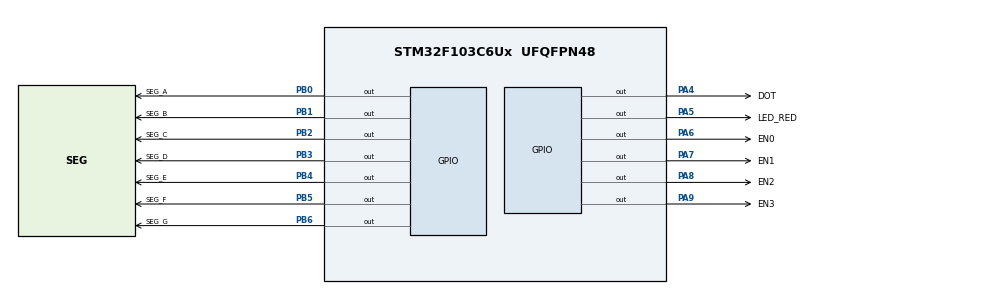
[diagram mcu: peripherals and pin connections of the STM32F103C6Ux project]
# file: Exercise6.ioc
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Mcu.Family=STM32F1
Mcu.Name=STM32F103C6Ux
Mcu.Package=UFQFPN48
NVIC.PriorityGroup=NVIC_PRIORITYGROUP_4
NVIC.TIM2_IRQn=true\:0\:0\:false\:false\:true\:true\:true
PA4.GPIO_Label=DOT
PA4.PinState=GPIO_PIN_SET
PA4.Signal=GPIO_Output
PA5.GPIO_Label=LED_RED
PA5.PinState=GPIO_PIN_SET
PA5.Signal=GPIO_Output
PA6.GPIO_Label=EN0
PA6.PinState=GPIO_PIN_SET
PA6.Signal=GPIO_Output
PA7.GPIO_Label=EN1
PA7.PinState=GPIO_PIN_SET
PA7.Signal=GPIO_Output
PA8.GPIO_Label=EN2
PA8.PinState=GPIO_PIN_SET
PA8.Signal=GPIO_Output
PA9.GPIO_Label=EN3
PA9.PinState=GPIO_PIN_SET
PA9.Signal=GPIO_Output
PB0.GPIO_Label=SEG_A
PB0.PinState=GPIO_PIN_SET
PB0.Signal=GPIO_Output
PB1.GPIO_Label=SEG_B
PB1.PinState=GPIO_PIN_SET
PB1.Signal=GPIO_Output
PB2.GPIO_Label=SEG_C
PB2.PinState=GPIO_PIN_SET
PB2.Signal=GPIO_Output
PB3.GPIO_Label=SEG_D
PB3.PinState=GPIO_PIN_SET
PB3.Signal=GPIO_Output
PB4.GPIO_Label=SEG_E
PB4.PinState=GPIO_PIN_SET
PB4.Signal=GPIO_Output
PB5.GPIO_Label=SEG_F
PB5.PinState=GPIO_PIN_SET
PB5.Signal=GPIO_Output
PB6.GPIO_Label=SEG_G
PB6.PinState=GPIO_PIN_SET
PB6.Signal=GPIO_Output
ProjectManager.HeapSize=0x200
ProjectManager.StackSize=0x400
ProjectManager.TargetToolchain=STM32CubeIDE
RCC.APB1Freq_Value=8000000
RCC.APB2Freq_Value=8000000
TIM2.Period=9
TIM2.Prescaler=7999
VP_SYS_VS_ND.Mode=No_Debug
VP_TIM2_VS_ClockSourceINT.Mode=Internal
board=custom

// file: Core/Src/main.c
/* USER CODE BEGIN Header */
/**
  ******************************************************************************
  * @file           : main.c
  * @brief          : Main program body
  ******************************************************************************
  * @attention
  *
  * <h2><center>&copy; Copyright (c) 2026 STMicroelectronics.
  * All rights reserved.</center></h2>
  *
  * This software component is licensed by ST under BSD 3-Clause license,
  * the "License"; You may not use this file except in compliance with the
  * License. You may obtain a copy of the License at:
  *                        opensource.org/licenses/BSD-3-Clause
  *
  ******************************************************************************
  */
/* USER CODE END Header */
#include "main.h"

TIM_HandleTypeDef htim2;

void SystemClock_Config(void);
static void MX_GPIO_Init(void);
static void MX_TIM2_Init(void);

/* USER CODE BEGIN 0 */

/* ====================== SOFTWARE TIMER (Exercise 6) ====================== */
int timer0_counter = 0;
int timer0_flag = 0;
int TIMER_CYCLE = 10;               // timer interrupt period = 10 ms

void setTimer0(int duration)
{
  timer0_counter = duration / TIMER_CYCLE;
  timer0_flag = 0;
}

void timer_run(void)
{
  if (timer0_counter > 0)
  {
    timer0_counter--;
    if (timer0_counter == 0) timer0_flag = 1;
  }
}

/* ====================== 7-SEGMENT DISPLAY (Exercise 1 - 4) ====================== */
const int MAX_LED = 4;
int index_led = 0;
int led_buffer[4] = {1, 2, 3, 4};

/* Scanning period: SCAN_TICKS x 10 ms per LED.
   25 ticks = 250 ms per LED -> whole 4 LEDs scanned at 1 Hz (Exercise 4).
   Change to 5 (50 ms/LED) or 1 (10 ms/LED) for a smoother display on real hardware. */
#define SCAN_TICKS 25
int scan_counter = 1;               // = 1 so the first LED is shown immediately

/* Segment pins (common anode: logic 0 = segment ON) */
static const uint16_t seg_pin[7] = {
  SEG_A_Pin, SEG_B_Pin, SEG_C_Pin, SEG_D_Pin,
  SEG_E_Pin, SEG_F_Pin, SEG_G_Pin
};

/* Pattern for digits 0..9, bit0 = a ... bit6 = g (0 = ON) */
static const uint8_t seg_code[10] = {
  0x40, // 0
  0x79, // 1
  0x24, // 2
  0x30, // 3
  0x19, // 4
  0x12, // 5
  0x02, // 6
  0x78, // 7
  0x00, // 8
  0x10  // 9
};

/* Enable pins (PNP transistor: logic 0 = LED ON) */
static const uint16_t en_pin[4] = {EN0_Pin, EN1_Pin, EN2_Pin, EN3_Pin};

void display7SEG(int num)
{
  if (num < 0 || num > 9) return;
  for (int i = 0; i < 7; i++)
  {
    HAL_GPIO_WritePin(GPIOB, seg_pin[i],
        ((seg_code[num] >> i) & 0x01) ? GPIO_PIN_SET : GPIO_PIN_RESET);
  }
}

void update7SEG(int index)
{
  /* Turn OFF all 4 digits first */
  HAL_GPIO_WritePin(GPIOA, EN0_Pin | EN1_Pin | EN2_Pin | EN3_Pin, GPIO_PIN_SET);

  switch (index)
  {
    case 0:
      display7SEG(led_buffer[0]);
      HAL_GPIO_WritePin(GPIOA, EN0_Pin, GPIO_PIN_RESET);
      break;
    case 1:
      display7SEG(led_buffer[1]);
      HAL_GPIO_WritePin(GPIOA, EN1_Pin, GPIO_PIN_RESET);
      break;
    case 2:
      display7SEG(led_buffer[2]);
      HAL_GPIO_WritePin(GPIOA, EN2_Pin, GPIO_PIN_RESET);
      break;
    case 3:
      display7SEG(led_buffer[3]);
      HAL_GPIO_WritePin(GPIOA, EN3_Pin, GPIO_PIN_RESET);
      break;
    default:
      break;
  }
}

/* ====================== DIGITAL CLOCK (Exercise 5) ====================== */
int hour = 15, minute = 8, second = 50;

void updateClockBuffer(void)
{
  led_buffer[0] = hour / 10;
  led_buffer[1] = hour % 10;
  led_buffer[2] = minute / 10;
  led_buffer[3] = minute % 10;
}

/* USER CODE END 0 */

int main(void)
{

  /* MCU Configuration--------------------------------------------------------*/

  /* Reset of all peripherals, Initializes the Flash interface and the Systick. */
  HAL_Init();

  /* Configure the system clock */
  SystemClock_Config();

  /* Initialize all configured peripherals */
  MX_GPIO_Init();
  MX_TIM2_Init();
  /* USER CODE BEGIN 2 */
  HAL_TIM_Base_Start_IT(&htim2);
  updateClockBuffer();              // show the initial time 15:08
  setTimer0(1000);                  // first tick after 1 second
  /* USER CODE END 2 */

  /* Infinite loop */
  while (1)
  {

    /* USER CODE BEGIN 3 */
    if (timer0_flag == 1)
    {
      setTimer0(1000);              // restart the 1 s software timer

      HAL_GPIO_TogglePin(LED_RED_GPIO_Port, LED_RED_Pin);   // blink LED every second
      HAL_GPIO_TogglePin(DOT_GPIO_Port, DOT_Pin);           // blink DOT every second

      second++;
      if (second >= 60)
      {
        second = 0;
        minute++;
      }
      if (minute >= 60)
      {
        minute = 0;
        hour++;
      }
      if (hour >= 24)
      {
        hour = 0;
      }
      updateClockBuffer();
    }
  }
  /* USER CODE END 3 */
}

void SystemClock_Config(void)
{
  RCC_OscInitTypeDef RCC_OscInitStruct = {0};
  RCC_ClkInitTypeDef RCC_ClkInitStruct = {0};

  /** Initializes the RCC Oscillators according to the specified parameters
  * in the RCC_OscInitTypeDef structure.
  */
  RCC_OscInitStruct.OscillatorType = RCC_OSCILLATORTYPE_HSI;
  RCC_OscInitStruct.HSIState = RCC_HSI_ON;
  RCC_OscInitStruct.HSICalibrationValue = RCC_HSICALIBRATION_DEFAULT;
  RCC_OscInitStruct.PLL.PLLState = RCC_PLL_NONE;
  if (HAL_RCC_OscConfig(&RCC_OscInitStruct) != HAL_OK)
  {
    Error_Handler();
  }
  /** Initializes the CPU, AHB and APB buses clocks
  */
  RCC_ClkInitStruct.ClockType = RCC_CLOCKTYPE_HCLK|RCC_CLOCKTYPE_SYSCLK
                              |RCC_CLOCKTYPE_PCLK1|RCC_CLOCKTYPE_PCLK2;
  RCC_ClkInitStruct.SYSCLKSource = RCC_SYSCLKSOURCE_HSI;
  RCC_ClkInitStruct.AHBCLKDivider = RCC_SYSCLK_DIV1;
  RCC_ClkInitStruct.APB1CLKDivider = RCC_HCLK_DIV1;
  RCC_ClkInitStruct.APB2CLKDivider = RCC_HCLK_DIV1;

  if (HAL_RCC_ClockConfig(&RCC_ClkInitStruct, FLASH_LATENCY_0) != HAL_OK)
  {
    Error_Handler();
  }
}

static void MX_TIM2_Init(void)
{

  TIM_ClockConfigTypeDef sClockSourceConfig = {0};
  TIM_MasterConfigTypeDef sMasterConfig = {0};

  htim2.Instance = TIM2;
  htim2.Init.Prescaler = 7999;
  htim2.Init.CounterMode = TIM_COUNTERMODE_UP;
  htim2.Init.Period = 9;
  htim2.Init.ClockDivision = TIM_CLOCKDIVISION_DIV1;
  htim2.Init.AutoReloadPreload = TIM_AUTORELOAD_PRELOAD_DISABLE;
  if (HAL_TIM_Base_Init(&htim2) != HAL_OK)
  {
    Error_Handler();
  }
  sClockSourceConfig.ClockSource = TIM_CLOCKSOURCE_INTERNAL;
  if (HAL_TIM_ConfigClockSource(&htim2, &sClockSourceConfig) != HAL_OK)
  {
    Error_Handler();
  }
  sMasterConfig.MasterOutputTrigger = TIM_TRGO_RESET;
  sMasterConfig.MasterSlaveMode = TIM_MASTERSLAVEMODE_DISABLE;
  if (HAL_TIMEx_MasterConfigSynchronization(&htim2, &sMasterConfig) != HAL_OK)
  {
    Error_Handler();
  }

}

static void MX_GPIO_Init(void)
{
  GPIO_InitTypeDef GPIO_InitStruct = {0};

  /* GPIO Ports Clock Enable */
  __HAL_RCC_GPIOA_CLK_ENABLE();
  __HAL_RCC_GPIOB_CLK_ENABLE();

  /*Configure GPIO pin Output Level */
  HAL_GPIO_WritePin(GPIOA, DOT_Pin|LED_RED_Pin|EN0_Pin|EN1_Pin
                          |EN2_Pin|EN3_Pin, GPIO_PIN_SET);

  /*Configure GPIO pin Output Level */
  HAL_GPIO_WritePin(GPIOB, SEG_A_Pin|SEG_B_Pin|SEG_C_Pin|SEG_D_Pin
                          |SEG_E_Pin|SEG_F_Pin|SEG_G_Pin, GPIO_PIN_SET);

  /*Configure GPIO pins : DOT_Pin LED_RED_Pin EN0_Pin EN1_Pin
                           EN2_Pin EN3_Pin */
  GPIO_InitStruct.Pin = DOT_Pin|LED_RED_Pin|EN0_Pin|EN1_Pin
                          |EN2_Pin|EN3_Pin;
  GPIO_InitStruct.Mode = GPIO_MODE_OUTPUT_PP;
  GPIO_InitStruct.Pull = GPIO_NOPULL;
  GPIO_InitStruct.Speed = GPIO_SPEED_FREQ_LOW;
  HAL_GPIO_Init(GPIOA, &GPIO_InitStruct);

  /*Configure GPIO pins : SEG_A_Pin SEG_B_Pin SEG_C_Pin SEG_D_Pin
                           SEG_E_Pin SEG_F_Pin SEG_G_Pin */
  GPIO_InitStruct.Pin = SEG_A_Pin|SEG_B_Pin|SEG_C_Pin|SEG_D_Pin
                          |SEG_E_Pin|SEG_F_Pin|SEG_G_Pin;
  GPIO_InitStruct.Mode = GPIO_MODE_OUTPUT_PP;
  GPIO_InitStruct.Pull = GPIO_NOPULL;
  GPIO_InitStruct.Speed = GPIO_SPEED_FREQ_LOW;
  HAL_GPIO_Init(GPIOB, &GPIO_InitStruct);

}

/* USER CODE BEGIN 4 */

/* Called every 10 ms by TIM2 */
void HAL_TIM_PeriodElapsedCallback(TIM_HandleTypeDef *htim)
{
  if (htim->Instance == TIM2)
  {
    timer_run();                    // update the software timer

    /* LED scanning */
    scan_counter--;
    if (scan_counter <= 0)
    {
      scan_counter = SCAN_TICKS;
      update7SEG(index_led++);
      if (index_led >= MAX_LED) index_led = 0;
    }
  }
}

/* USER CODE END 4 */

void Error_Handler(void)
{
  __disable_irq();
  while (1)
  {
  }
}

/************************ (C) COPYRIGHT STMicroelectronics *****END OF FILE****/
